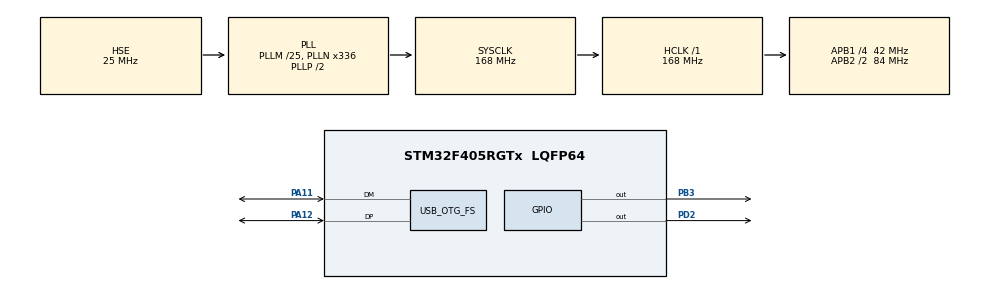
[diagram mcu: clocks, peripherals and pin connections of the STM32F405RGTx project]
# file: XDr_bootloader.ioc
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Mcu.Family=STM32F4
Mcu.Name=STM32F405RGTx
Mcu.Package=LQFP64
NVIC.OTG_FS_IRQn=true\:0\:0\:false\:false\:true\:false\:true\:true
NVIC.PriorityGroup=NVIC_PRIORITYGROUP_4
PA11.Mode=Device_Only
PA11.Signal=USB_OTG_FS_DM
PA12.Mode=Device_Only
PA12.Signal=USB_OTG_FS_DP
PA13.Mode=Serial_Wire
PA13.Signal=SYS_JTMS-SWDIO
PA14.Mode=Serial_Wire
PA14.Signal=SYS_JTCK-SWCLK
PB3.Signal=GPIO_Output
PD2.Signal=GPIO_Output
PH0-OSC_IN.Mode=HSE-External-Oscillator
PH0-OSC_IN.Signal=RCC_OSC_IN
PH1-OSC_OUT.Mode=HSE-External-Oscillator
PH1-OSC_OUT.Signal=RCC_OSC_OUT
ProjectManager.HeapSize=0x200
ProjectManager.StackSize=0x400
ProjectManager.TargetToolchain=MDK-ARM V5.32
RCC.48MHZClocksFreq_Value=48000000
RCC.AHBFreq_Value=168000000
RCC.APB1CLKDivider=RCC_HCLK_DIV4
RCC.APB1Freq_Value=42000000
RCC.APB1TimFreq_Value=84000000
RCC.APB2CLKDivider=RCC_HCLK_DIV2
RCC.APB2Freq_Value=84000000
RCC.APB2TimFreq_Value=168000000
RCC.CortexFreq_Value=168000000
RCC.HCLKFreq_Value=168000000
RCC.HSE_VALUE=25000000
RCC.HSI_VALUE=16000000
RCC.LSE_VALUE=32768
RCC.PLLM=25
RCC.PLLN=336
RCC.PLLQ=7
RCC.SYSCLKFreq_VALUE=168000000
RCC.SYSCLKSource=RCC_SYSCLKSOURCE_PLLCLK
RCC.VCOOutputFreq_Value=336000000
USB_DEVICE.CLASS_NAME_FS=CDC
USB_DEVICE.MANUFACTURER_STRING-CDC_FS=wxd
USB_DEVICE.PRODUCT_STRING_CDC_FS=XDrBootLoader
USB_DEVICE.VirtualMode-CDC_FS=Cdc
USB_DEVICE.VirtualModeFS=Cdc_FS
USB_OTG_FS.VirtualMode=Device_Only
VP_USB_DEVICE_VS_USB_DEVICE_CDC_FS.Mode=CDC_FS
board=custom

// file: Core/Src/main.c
/* USER CODE BEGIN Header */
/**
 ******************************************************************************
 * @file           : main.c
 * @brief          : Main program body
 ******************************************************************************
 * @attention
 *
 * Copyright (c) 2026 STMicroelectronics.
 * All rights reserved.
 *
 * This software is licensed under terms that can be found in the LICENSE file
 * in the root directory of this software component.
 * If no LICENSE file comes with this software, it is provided AS-IS.
 *
 ******************************************************************************
 */
/* USER CODE END Header */
#include "main.h"
#include "usb_device.h"
#include "gpio.h"

/* USER CODE BEGIN Includes */
#include "stdbool.h"
#include "led.h"
#include "usbd_cdc_if.h"
/* USER CODE END Includes */

/* USER CODE BEGIN PV */
extern USBD_HandleTypeDef hUsbDeviceFS; /* 来自 usb_device.c */

volatile uint32_t g_firmware_total_size = 0; // 固件总大小
volatile uint8_t g_erase_sectors_start = 0;  // 起始扇区号
volatile uint8_t g_erase_sectors_count = 0;  // 擦除扇区数量

volatile uint32_t upgrade_addr;

volatile bool g_in_upgrade_mode = false;
/* USER CODE END PV */

void SystemClock_Config(void);

int main(void)
{

  /* MCU Configuration--------------------------------------------------------*/

  /* Reset of all peripherals, Initializes the Flash interface and the Systick. */
  HAL_Init();

  /* Configure the system clock */
  SystemClock_Config();

  /* Initialize all configured peripherals */
  MX_GPIO_Init();
  MX_USB_DEVICE_Init();
  /* USER CODE BEGIN 2 */
  LED_Init();
  LED_SetState(LED_IDLE);
  /* 检查升级标志，有则进入升级模式 */
  if (Check_Upgrade_Flag())
  {
    Clear_Upgrade_Flag(); /* 清除标志 */
    g_in_upgrade_mode = 1;
    LED_SetState(LED_IDLE);
  }

  if (g_in_upgrade_mode)
  {
    /* 升级模式主循环 */
    while (1)
    {
      LED_Process(); /* 非阻塞更新 LED */

      if (g_cmd_received)
      {
        g_cmd_received = 0;

        /* 根据命令类型设置对应 LED 状态 */
        switch (g_upgrade_cmd)
        {
        case CMD_IAP_ENTER: /* 进入升级确认 */
          LED_SetState(LED_IDLE);
          break;

        case CMD_IAP_ERASE_FLASH:  /* 擦除 Flash */
        case CMD_IAP_WRITE_FLASH:  /* 写入 Flash */
        case CMD_IAP_VERIFY_FLASH: /* 校验 Flash */
          LED_SetState(LED_WRITING);
          break;

        case CMD_IAP_EXIT: /* 跳转 App */
          LED_SetState(LED_SUCCESS);
          break;

        default:
          LED_SetState(LED_ERROR);
          break;
        }
        /* === 开启临界区保护 === */
        __disable_irq(); // 1. 关中断

        /* 2. 一次性将 volatile 全局变量拷贝到局部变量 */
        uint8_t cmd = g_upgrade_cmd;
        uint16_t len = g_upgrade_len;
        uint8_t data_buf[256];

        if (len > 0 && len <= 256)
        {
          memcpy(data_buf, (void *)g_upgrade_data, len);
        }

        g_cmd_received = 0; // 3. 清除标志

        __enable_irq(); // 4. 开中断
                        /* === 临界区结束 === */
        uint8_t result = Process_Upgrade_Cmd(cmd, data_buf, len);

        /* 如果是跳转命令，显示结果后执行 */
        if (g_upgrade_cmd == CMD_IAP_EXIT)
        {
          if (result)
          {
            LED_SetState(LED_SUCCESS);
            for (int i = 0; i < 200; i++)
            {
              HAL_Delay(10);
              LED_Process();
            }
            JumpToApp();
          }
          else
          {
            /* 跳转失败 - 全灭或同步快闪表示严重错误 */
            LED_SetState(LED_ERROR);
          }
        }
        else if (!result)
        {
          /* 其他命令失败 */
          LED_SetState(LED_ERROR);
        }
      }
      HAL_Delay(1);
    }
  }

  /* 无升级标志，直接跳转 App */
  JumpToApp();
  /* USER CODE END 2 */

  /* Infinite loop */
  while (1)
  {

  }
}

void SystemClock_Config(void)
{
  RCC_OscInitTypeDef RCC_OscInitStruct = {0};
  RCC_ClkInitTypeDef RCC_ClkInitStruct = {0};

  /** Configure the main internal regulator output voltage
   */
  __HAL_RCC_PWR_CLK_ENABLE();
  __HAL_PWR_VOLTAGESCALING_CONFIG(PWR_REGULATOR_VOLTAGE_SCALE1);

  /** Initializes the RCC Oscillators according to the specified parameters
   * in the RCC_OscInitTypeDef structure.
   */
  RCC_OscInitStruct.OscillatorType = RCC_OSCILLATORTYPE_HSE;
  RCC_OscInitStruct.HSEState = RCC_HSE_ON;
  RCC_OscInitStruct.PLL.PLLState = RCC_PLL_ON;
  RCC_OscInitStruct.PLL.PLLSource = RCC_PLLSOURCE_HSE;
  RCC_OscInitStruct.PLL.PLLM = 25;
  RCC_OscInitStruct.PLL.PLLN = 336;
  RCC_OscInitStruct.PLL.PLLP = RCC_PLLP_DIV2;
  RCC_OscInitStruct.PLL.PLLQ = 7;
  if (HAL_RCC_OscConfig(&RCC_OscInitStruct) != HAL_OK)
  {
    Error_Handler();
  }

  /** Initializes the CPU, AHB and APB buses clocks
   */
  RCC_ClkInitStruct.ClockType = RCC_CLOCKTYPE_HCLK | RCC_CLOCKTYPE_SYSCLK | RCC_CLOCKTYPE_PCLK1 | RCC_CLOCKTYPE_PCLK2;
  RCC_ClkInitStruct.SYSCLKSource = RCC_SYSCLKSOURCE_PLLCLK;
  RCC_ClkInitStruct.AHBCLKDivider = RCC_SYSCLK_DIV1;
  RCC_ClkInitStruct.APB1CLKDivider = RCC_HCLK_DIV4;
  RCC_ClkInitStruct.APB2CLKDivider = RCC_HCLK_DIV2;

  if (HAL_RCC_ClockConfig(&RCC_ClkInitStruct, FLASH_LATENCY_5) != HAL_OK)
  {
    Error_Handler();
  }
}

/* USER CODE BEGIN 4 */

/**
 * @brief 检查升级标志
 * @retval 1: 需要升级，0: 正常运行
 */
uint8_t Check_Upgrade_Flag(void)
{
  return (*(__IO uint32_t *)FLAG_ADDRESS == UPGRADE_MAGIC) ? 1 : 0;
}

/**
 * @brief 设置升级标志
 */
void Set_Upgrade_Flag(void)
{
  HAL_FLASH_Unlock();

  FLASH_EraseInitTypeDef erase_init;
  uint32_t sector_error;

  erase_init.TypeErase = FLASH_TYPEERASE_SECTORS;
  erase_init.VoltageRange = FLASH_VOLTAGE_RANGE_3;
  /* 修改为 Sector 11 */
  erase_init.Sector = FLASH_SECTOR_11;
  erase_init.NbSectors = 1;

  if (HAL_FLASHEx_Erase(&erase_init, &sector_error) == HAL_OK)
  {
    HAL_FLASH_Program(FLASH_TYPEPROGRAM_WORD, FLAG_ADDRESS, UPGRADE_MAGIC);
  }

  HAL_FLASH_Lock();
}

/**
 * @brief 清除升级标志
 */
void Clear_Upgrade_Flag(void)
{
  HAL_FLASH_Unlock();

  FLASH_EraseInitTypeDef erase_init;
  uint32_t sector_error;

  erase_init.TypeErase = FLASH_TYPEERASE_SECTORS;
  erase_init.VoltageRange = FLASH_VOLTAGE_RANGE_3;
  /* 修改为 Sector 11 */
  erase_init.Sector = FLASH_SECTOR_11;
  erase_init.NbSectors = 1;

  if (HAL_FLASHEx_Erase(&erase_init, &sector_error) == HAL_OK)
  {
    HAL_FLASH_Program(FLASH_TYPEPROGRAM_WORD, FLAG_ADDRESS, NORMAL_MAGIC);
  }

  HAL_FLASH_Lock();
}
/**
 * @brief 根据 Flash 地址计算扇区号
 * @param addr: Flash 地址
 * @retval 扇区号 (0-11)，失败返回 0xFF
 */
uint8_t Flash_GetSectorFromAddr(uint32_t addr)
{
  // STM32F405 Flash 扇区映射表
  static const uint32_t sector_start_addr[] = {
      0x08000000, // Sector 0:  16KB
      0x08004000, // Sector 1:  16KB
      0x08008000, // Sector 2:  16KB
      0x0800C000, // Sector 3:  16KB
      0x08010000, // Sector 4:  64KB
      0x08020000, // Sector 5:  128KB
      0x08040000, // Sector 6:  128KB
      0x08060000, // Sector 7:  128KB
      0x08080000, // Sector 8:  128KB
      0x080A0000, // Sector 9:  128KB
      0x080C0000, // Sector 10: 128KB
      0x080E0000, // Sector 11: 128KB
  };

  for (uint8_t i = 0; i < 12; i++)
  {
    if (addr >= sector_start_addr[i])
    {
      if (i == 11)
        return 11; // 最后一个扇区
      if (addr < sector_start_addr[i + 1])
        return i;
    }
  }
  return 0xFF; // 无效地址
}
/**
 * @brief 根据起始地址和固件大小计算需要擦除的扇区
 * @param start_addr: 起始地址
 * @param total_size: 固件总大小
 * @retval 1: 成功，0: 失败
 */
uint8_t Flash_CalcEraseSectors(uint32_t start_addr, uint32_t total_size)
{
  if (total_size == 0)
    return 0; // 固件大小为 0，无效

  uint32_t end_addr = start_addr + total_size;

  // 获取起始扇区
  uint8_t start_sector = Flash_GetSectorFromAddr(start_addr);
  if (start_sector == 0xFF)
    return 0;

  // 获取结束扇区 (end_addr-1 是因为地址是开区间)
  uint8_t end_sector = Flash_GetSectorFromAddr(end_addr - 1);
  if (end_sector == 0xFF)
    return 0;

  // 安全检查 1: 不能擦除 Sector 0 (Bootloader 所在)
  if (start_sector == 0)
    return 0;

  // 安全检查 2: 不能擦除 CONFIG_SECTOR (存升级标志)
  if (end_sector >= CONFIG_SECTOR)
  {
    end_sector = CONFIG_SECTOR - 1;
  }

  // 计算扇区数量
  g_erase_sectors_start = start_sector;
  g_erase_sectors_count = end_sector - start_sector + 1;

  return 1;
}
/**
 * @brief 擦除 App 区 Flash (使用动态计算的扇区)
 * @retval 1: 成功，0: 失败
 */
uint8_t Flash_Erase_App(void)
{
  // 检查是否已计算擦除范围
  if (g_erase_sectors_count == 0)
    return 0;

  FLASH_EraseInitTypeDef erase_init;
  uint32_t sector_error;

  HAL_FLASH_Unlock();

  erase_init.TypeErase = FLASH_TYPEERASE_SECTORS;
  erase_init.VoltageRange = FLASH_VOLTAGE_RANGE_3;
  erase_init.Sector = g_erase_sectors_start;    // 动态起始扇区
  erase_init.NbSectors = g_erase_sectors_count; // 动态扇区数量

  uint8_t result = (HAL_FLASHEx_Erase(&erase_init, &sector_error) == HAL_OK) ? 1 : 0;

  HAL_FLASH_Lock();
  return result;
}
/**
 * @brief 写入 Flash (支持非 4 字节对齐)
 * @param addr: 目标地址
 * @param data: 数据指针
 * @param len: 数据长度 (字节)
 * @retval 1: 成功，0: 失败
 */
uint8_t Flash_Write(uint32_t addr, uint8_t *data, uint16_t len)
{
  HAL_StatusTypeDef status = HAL_OK;
  HAL_FLASH_Unlock();

  uint16_t i = 0;

  /* 1. 先按 4 字节 (Word) 写入，效率高 */
  for (; i + 3 < len && status == HAL_OK; i += 4)
  {
    uint32_t word = data[i] | (data[i + 1] << 8) | (data[i + 2] << 16) | (data[i + 3] << 24);
    status = HAL_FLASH_Program(FLASH_TYPEPROGRAM_WORD, addr, word);
    addr += 4;
  }

  /* 2. 处理剩余不足的 4 字节 (1~3 字节)，按字节 (Byte) 写入 */
  while (i < len && status == HAL_OK)
  {
    status = HAL_FLASH_Program(FLASH_TYPEPROGRAM_BYTE, addr, data[i]);
    addr++;
    i++;
  }

  HAL_FLASH_Lock();
  return (status == HAL_OK) ? 1 : 0;
}

/**
 * @brief 校验 Flash
 * @retval 1: 成功，0: 失败
 */
uint8_t Flash_Verify(uint32_t addr, uint8_t *data, uint16_t len)
{
  for (uint16_t i = 0; i < len; i++)
  {
    if (*(uint8_t *)(addr + i) != data[i])
    {
      return 0;
    }
  }
  return 1;
}
/**
 * @brief 跳转到 App
 */
void JumpToApp(void)
{
  uint32_t app_stack = *(__IO uint32_t *)0x08004000;
  uint32_t app_reset = *(__IO uint32_t *)0x08004004;

  // 简单检查栈地址是否合理
  if ((app_stack & 0x2FFE0000) == 0x20000000)
  {
    __disable_irq();
    SysTick->CTRL = 0;
    SysTick->LOAD = 0;
    SysTick->VAL = 0;

    __set_MSP(app_stack);

    ((void (*)(void))app_reset)();
  }
  else
  {
    LED_SetState(LED_ERROR);
    // 跳转失败，死循环
    while (1)
    {
      LED_Process();
      HAL_Delay(1);
    }
  }
}
/**
 * @brief 处理升级命令
 * @retval 1: 成功，0: 失败
 */
uint8_t Process_Upgrade_Cmd(uint8_t cmd, uint8_t *data, uint16_t len)
{
  uint8_t response[6] = {0x3A, cmd, 0x01, 0x00, 0x00, 0x0D};
  uint8_t result = 1;

  switch (cmd)
  {
  case CMD_IAP_ENTER: /* 进入升级 (确认) */
    if (len >= 4)
    {
      // 解析 4 字节小端序固件大小
      g_firmware_total_size = data[0] | (data[1] << 8) | (data[2] << 16) | (data[3] << 24);

      // 计算需要擦除的扇区范围
      if (Flash_CalcEraseSectors(APP_START_ADDR, g_firmware_total_size))
      {
        result = 1;
      }
      else
      {
        result = 0; // 扇区计算失败
      }
    }
    else
    {
      result = 0; // 数据长度不足 4 字节
    }
    break;
  case CMD_IAP_ERASE_FLASH: /* 擦除 Flash */
    //result = Flash_Erase_App();
		result=1;
    break;

  case CMD_IAP_WRITE_FLASH: /* 写入 Flash */

    upgrade_addr = (uint32_t)data[0] | ((uint32_t)data[1] << 8) |
                   ((uint32_t)data[2] << 16) | ((uint32_t)data[3] << 24);
    if (upgrade_addr < 0x08004000 || upgrade_addr >= 0x080FFFFF)
    {
      result = 0; // 非法地址，直接丢弃
      break;
    }
    g_upgrade_len = len - 4; /* 减去地址(4B) */

    /* [修改点 7] 地址对齐检查 */
    if (upgrade_addr % 4 != 0)
    {
      result = 0; /* 地址必须 4 字节对齐 */
    }
    else
    {
      //result = Flash_Write(upgrade_addr, &data[4], g_upgrade_len);
			result=1;
    }
    break;

  case CMD_IAP_VERIFY_FLASH: /* 校验 Flash */
    upgrade_addr = (uint32_t)data[0] | ((uint32_t)data[1] << 8) |
                   ((uint32_t)data[2] << 16) | ((uint32_t)data[3] << 24);
    g_upgrade_len = len - 4; /* 减去地址(4B) */
    //result = Flash_Verify(upgrade_addr, &data[4], g_upgrade_len);
		result=1;
    break;

  case CMD_IAP_EXIT: /* 跳转 App */
    result = 1;
    break;

  default:
    result = 0;
    break;
  }

  response[3] = result;
  response[4] = response[3] & 0x01; // 校验位只加数据

  /*  USB 发送状态检查与重试 */
  uint32_t start = HAL_GetTick();
  while ((CDC_Transmit_FS(response, 6) == USBD_BUSY) &&
         (HAL_GetTick() - start < 100)) // 100ms 超时
  {
    HAL_Delay(1);
  }

  return result;
}
/* USER CODE END 4 */

void Error_Handler(void)
{
  __disable_irq();
  while (1)
  {
  }
}
